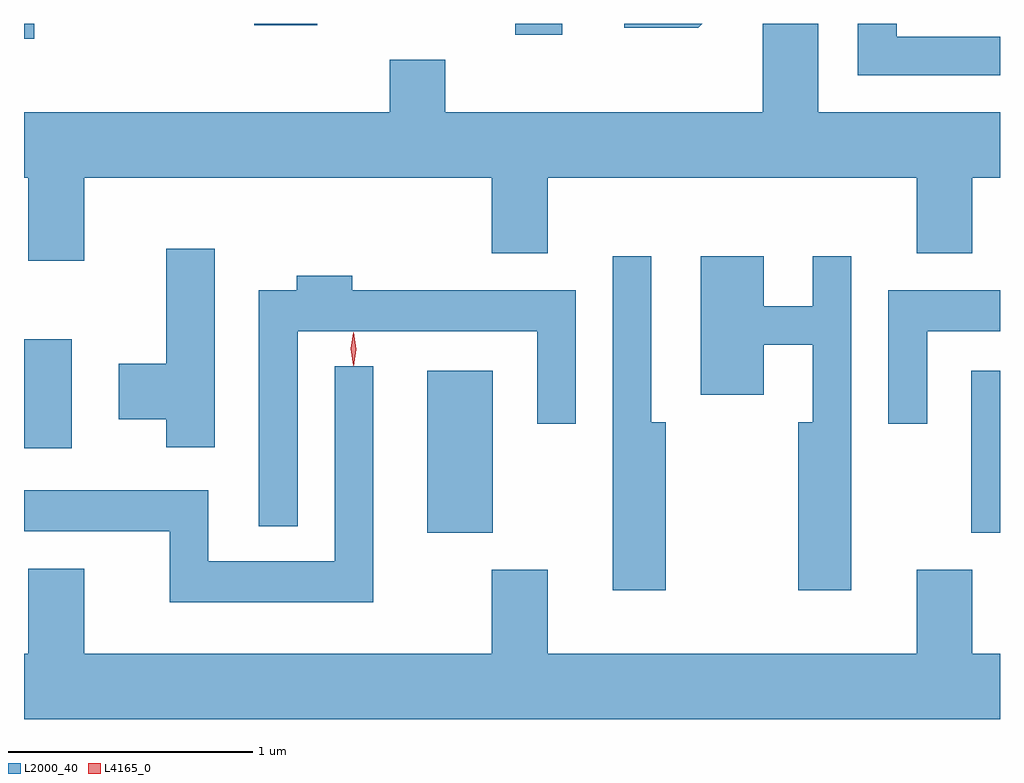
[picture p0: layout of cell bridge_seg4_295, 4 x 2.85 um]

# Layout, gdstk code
import gdstk
lib = gdstk.Library(unit=1e-6, precision=1e-09)
def R(c, l, rs):  # rectangles x0, y0, x1, y1
    for r in rs: c.add(gdstk.rectangle(r[:2], r[2:], *l))
def P(c, l, *ps):  # polygons
    for p in ps: c.add(gdstk.Polygon(p, *l))
L2000_40 = (2000, 40)
L4165_0 = (4165, 0)

bridge_seg4_295 = lib.new_cell('bridge_seg4_295')
R(bridge_seg4_295, L2000_40, [(521.986,1311.041,522.254,1311.704), (524.216,1311.041,524.333,1311.704), (520.333,1311.386,520.529,1311.834), (520.333,1313.066,520.374,1313.127), (522.346,1313.081,522.539,1313.127), (521.276,1313.121,521.535,1313.127)])
P(bridge_seg4_295, L2000_40, [(520.579,1312.496),(522.251,1312.496),(522.251,1312.186),(522.479,1312.186),(522.479,1312.496),(523.991,1312.496),(523.991,1312.186),(524.219,1312.186),(524.219,1312.496),(524.333,1312.496),(524.333,1312.764),(523.589,1312.764),(523.589,1313.127),(523.361,1313.127),(523.361,1312.764),(522.059,1312.764),(522.059,1312.979),(521.831,1312.979),(521.831,1312.764),(520.333,1312.764),(520.333,1312.496),(520.351,1312.496),(520.351,1312.156),(520.579,1312.156)],
  [(524.333,1313.074),(523.909,1313.074),(523.909,1313.127),(523.751,1313.127),(523.751,1312.916),(524.333,1312.916)],
  [(523.113,1313.127),(522.793,1313.127),(522.793,1313.111),(523.097,1313.111)],
  [(521.114,1312.204),(520.916,1312.204),(520.916,1311.734),(520.721,1311.734),(520.721,1311.506),(520.916,1311.506),(520.916,1311.391),(521.114,1311.391)],
  [(523.724,1312.173),(523.566,1312.173),(523.566,1311.969),(523.364,1311.969),(523.364,1312.174),(523.106,1312.174),(523.106,1311.606),(523.364,1311.606),(523.364,1311.811),(523.566,1311.811),(523.566,1311.494),(523.506,1311.494),(523.506,1310.806),(523.724,1310.806)],
  [(522.964,1311.494),(522.904,1311.494),(522.904,1312.173),(522.746,1312.173),(522.746,1310.806),(522.964,1310.806)],
  [(521.454,1311.866),(522.436,1311.866),(522.436,1311.488),(522.594,1311.488),(522.594,1312.034),(521.679,1312.034),(521.679,1312.094),(521.451,1312.094),(521.451,1312.034),(521.296,1312.034),(521.296,1311.068),(521.454,1311.068)],
  [(524.034,1311.866),(524.333,1311.866),(524.333,1312.034),(523.876,1312.034),(523.876,1311.488),(524.034,1311.488)],
  [(521.764,1311.723),(521.606,1311.723),(521.606,1310.924),(521.089,1310.924),(521.089,1311.214),(520.333,1311.214),(520.333,1311.046),(520.931,1311.046),(520.931,1310.756),(521.764,1310.756)],
  [(524.333,1310.544),(524.219,1310.544),(524.219,1310.889),(523.991,1310.889),(523.991,1310.544),(522.479,1310.544),(522.479,1310.889),(522.251,1310.889),(522.251,1310.544),(520.579,1310.544),(520.579,1310.894),(520.351,1310.894),(520.351,1310.544),(520.333,1310.544),(520.333,1310.276),(524.333,1310.276)])
P(bridge_seg4_295, L4165_0, [(521.684,1311.724),(521.684,1311.724),(521.674,1311.793),(521.684,1311.863),(521.684,1311.863),(521.685,1311.863),(521.694,1311.793),(521.685,1311.724)],
  [(521.683,1311.727),(521.673,1311.794),(521.683,1311.86),(521.683,1311.86),(521.684,1311.86),(521.693,1311.794),(521.684,1311.727),(521.684,1311.727)])

lib.write_gds('bridge_seg4_295.gds')
